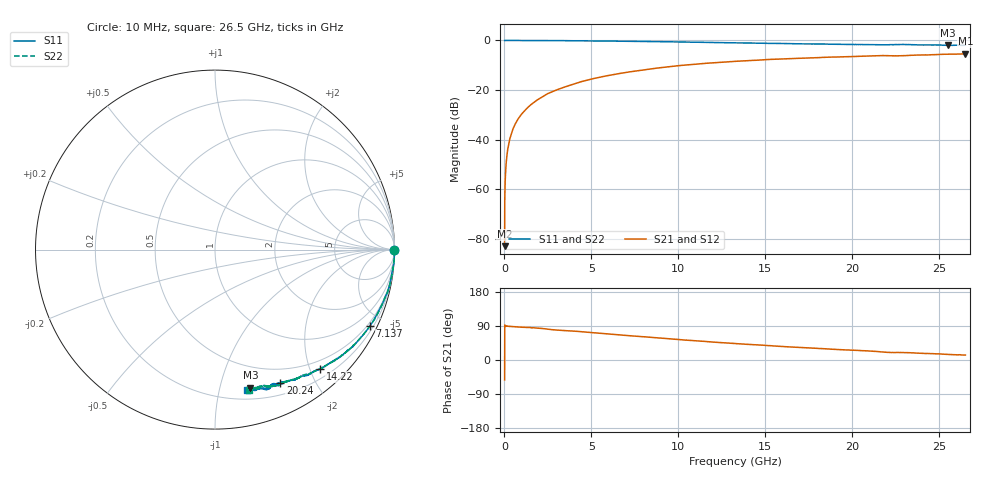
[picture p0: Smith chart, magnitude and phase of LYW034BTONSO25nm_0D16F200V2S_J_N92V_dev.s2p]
!Keysight Technologies,N5222B,MY61253708,A.15.00.15
!Date: Wednesday, June 19, 2024 09:33:03
!Correction: S11(C  2-Port  )
!S21(C  2-Port  )
!S12(C  2-Port  )
!S22(C  2-Port  )
!S2P File: Measurements: S11, S21, S12, S22:
# Hz S  RI  R 50
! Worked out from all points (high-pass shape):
!   2651 points, 10 MHz to 26.5 GHz, reference 50 ohm
!   highest |S21| = -5.38 dB at 26.5 GHz (marker M1); lowest = -83.0 dB at 10 MHz (marker M2)
!   |S21| within 3 dB of the highest: 13.4 GHz to end of sweep
!   lowest |S11| = -2.0 dB at 25.5 GHz (marker M3), VSWR 8.73, Z = 14.9 - j62.3 ohm
!   |S11| at or under -10 dB: nowhere
!   |S22| runs from -1.9 to 0.0 dB; largest |S21 - S12| = 0.0067
!   S11 on the Smith chart (normalised r, x): 10 MHz: open; 7.137 GHz: 0.37, -4.24; 14.22 GHz: 0.35, -2.17; 20.24 GHz: 0.33, -1.55; 26.5 GHz: 0.27, -1.22
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1e7  0.9986 -0.00266  4.29e-05 -5.59e-05  6.19e-06 0.000299  0.9985 -0.0014
1.499472e8  0.9999 -0.0109  7.49e-05 0.005  6.17e-05 0.00504  0.9995 -0.0103
1.799358e8  0.9999 -0.0121  5.42e-05 0.00598  6.12e-05 0.00605  0.9995 -0.0116
2.199208e8  0.9998 -0.0152  0.000113 0.00735  0.000131 0.00739  0.9993 -0.0145
3.098868e8  0.9995 -0.021  0.000239 0.0104  0.000229 0.0104  0.9993 -0.0202
4.298415e8  0.9991 -0.029  0.000431 0.0143  0.000432 0.0144  0.9995 -0.0283
5.797849e8  0.9985 -0.0391  0.00071 0.0193  0.000713 0.0195  0.9988 -0.0384
7.59717e8  0.9982 -0.0509  0.00131 0.0252  0.0013 0.0254  0.9983 -0.0506
1.049608e9  0.9975 -0.0715  0.00222 0.0346  0.00226 0.0349  0.996 -0.07
1.409472e9  0.9905 -0.0964  0.00329 0.0466  0.00343 0.0469  0.9935 -0.093
2.299136e9  0.9823 -0.1508  0.00974 0.0771  0.00998 0.0777  0.9835 -0.1518
3.128823e9  0.9708 -0.2037  0.0205 0.1023  0.0208 0.103  0.9709 -0.2033
4.428332e9  0.9417 -0.2818  0.0391 0.1424  0.0396 0.1434  0.9429 -0.28
7.137309e9  0.8619 -0.4268  0.1002 0.2075  0.1016 0.2082  0.8632 -0.4264
8.846664e9  0.8004 -0.5035  0.1467 0.2373  0.1485 0.238  0.8007 -0.5029
1.3255e10  0.6234 -0.6427  0.2745 0.2605  0.2772 0.2602  0.6254 -0.6419
1.422463e10  0.5861 -0.6647  0.2997 0.2576  0.3022 0.2569  0.5891 -0.6608
1.767333e10  0.4511 -0.7207  0.3803 0.2318  0.3841 0.2299  0.4596 -0.7183
2.024236e10  0.3636 -0.7445  0.4309 0.2034  0.4339 0.2011  0.3759 -0.7428
2.209166e10  0.3163 -0.7524  0.4622 0.1692  0.4643 0.166  0.3082 -0.7583
2.550038e10  0.1975 -0.7695  0.5107 0.1325  0.5124 0.1318  0.2162 -0.7718
2.65e10  0.1785 -0.7838  0.5241 0.1214  0.5238 0.1171  0.1898 -0.7815
